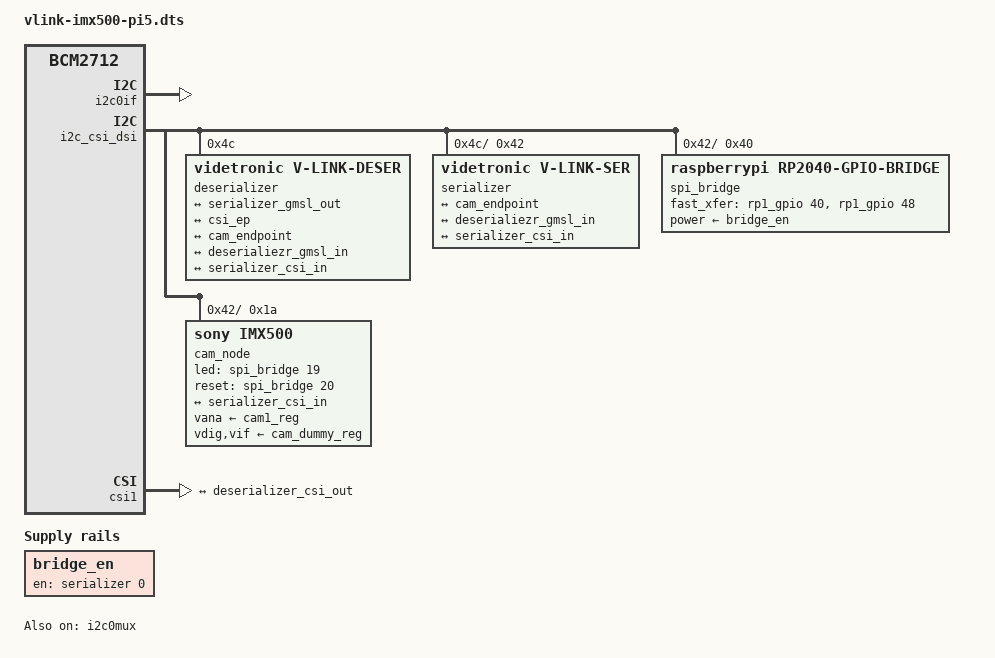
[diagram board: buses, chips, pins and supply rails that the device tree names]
// SPDX-License-Identifier: GPL-2.0-only
// Definitions for IMX500 camera module over v-link
/dts-v1/;
/plugin/;

/{
	compatible = "brcm,bcm2712";
	
	fragment@0 {
		target = <&i2c0if>;
		__overlay__ {
			status = "okay";
		};
	};
	
	fragment@1 {
		target = <&i2c0mux>;
		__overlay__ {
			status = "okay";
		};
	};
	
	reg_frag: fragment@2 {
		target = <&cam1_reg>;
		cam_reg: __overlay__ {
			startup-delay-us = <300000>;
		};
	};
	
	i2c_frag: fragment@100 {
		target = <&i2c_csi_dsi>;
		__overlay__ {
			#address-cells = <1>;
			#size-cells = <0>;
			status = "okay";
			
			deserializer: deserializer@4C {
				status = "okay";
				compatible = "videtronic,v-link-deser";
				reg = <0x4C>;
				ports {
					#address-cells = <1>;
					#size-cells = <0>;
					
					port@0 {
						reg = <0>;
						deserialiezr_gmsl_in: endpoint {
							remote-endpoint = <&serializer_gmsl_out>;
						};
					};
					
					port@1 {
						reg = <1>;
						deserializer_csi_out: endpoint {
							data-lanes = <1 2>;
							link-frequencies = /bits/ 64 <500000000>;
							remote-endpoint = <&csi_ep>;
						};
					};
				};
				
				i2c-gate {
					#address-cells = <1>;
					#size-cells = <0>;
					status = "okay";
					serializer: serializer@42 {
						status = "okay";
						compatible = "videtronic,v-link-ser";
						reg = <0x42>;
						gpio-controller;
						#gpio-cells = <2>;
						#clock-cells = <0>;
						
						ports {
							#address-cells = <1>;
							#size-cells = <0>;
							
							port@0 {
								reg = <0>;
								serializer_csi_in: endpoint {
									data-lanes = <1 2>;
									remote-endpoint = <&cam_endpoint>;
								};
							};
							
							port@1 {
								reg = <1>;
								serializer_gmsl_out: endpoint {
									remote-endpoint = <&deserialiezr_gmsl_in>;
								};
							};
						};
						
						i2c-gate {
							#address-cells = <1>;
							#size-cells = <0>;
							status = "okay";
							
							spi_bridge: spi@40 {
								reg = <0x40>;
								compatible = "raspberrypi,rp2040-gpio-bridge";
								status = "okay";
								#address-cells = <1>;
								#size-cells = <0>;
								
								power-supply = <&bridge_en>;
								
								#gpio-cells = <2>;
								gpio-controller;
								
								spi_bridgedev0: spidev@0{
									compatible = "spidev";
									reg = <0>;	/* CE0 */
									#address-cells = <1>;
									#size-cells = <0>;
									spi-max-frequency = <35000000>;
								};
							};
							
							cam_node: imx500@1a {
								reg = <0x1a>;
								compatible = "sony,imx500";
								status = "okay";
								
								clocks = <&clk_aicam_gated>;
								clock-names = "inck";
								
								vana-supply = <&cam1_reg>;	/* 2.7v */
								vdig-supply = <&cam_dummy_reg>;	/* 0.84v */
								vif-supply = <&cam_dummy_reg>;	/* 1.8v */
								
								rotation = <0>;
								orientation = <2>;
								
								led-gpios = <&spi_bridge 19 0>;
								reset-gpios = <&spi_bridge 20 0>;
								spi = <&spi_bridgedev0>;
								
								port {
									cam_endpoint: endpoint {
										clock-lanes = <0>;
										data-lanes = <1 2>;
										clock-noncontinuous;
										link-frequencies =
										/bits/ 64 <444000000>;
									};
								};
							};
						};
					};
				};
			};
		};
	};
	
	csi_frag: fragment@101 {
		target = <&csi1>;
		csi: __overlay__ {
			status = "okay";
			brcm,media-controller;
			
			port {
				csi_ep: endpoint {
					remote-endpoint = <&deserializer_csi_out>;
					clock-lanes = <0>;
					data-lanes = <1 2>;
					clock-noncontinuous;
				};
			};
		};
	};
	
	spi_frag: fragment@102 {
		target = <&spi_bridge>;
		spi_frag_overlay: __overlay__ {
			fast_xfer_requires_i2c_lock = <1>;
			fast_xfer_recv_gpio_base = <11>;
			fast_xfer-gpios = <&rp1_gpio 40 0>,// CD1_SDA (used as data)
			<&rp1_gpio 48 0>;// CD1_IO1_MICDAT1 (clock)
		};
	};
	
	spi_bridge_frag: fragment@103 {
		target = <&spi_bridgedev0>;
		__overlay__ {
			compatible = "sony,imx500";
		};
	};
	
	fragment@104 {
		target-path = "/clocks";
		__overlay__ {
			clk_aicam: clk-aicam1 {
				compatible = "fixed-clock";
				#clock-cells = <0>;
				clock-frequency = <24000000>;
			};
			
			clk_aicam_gated: clk-aicam-gated1 {
				compatible = "gpio-gate-clock";
				clocks = <&clk_aicam>;
				#clock-cells = <0>;
				enable-gpios = <&spi_bridge 21 0>;
			};
		};
	};
	
	fragment@105 {
		target-path = "/";
		__overlay__ {
			bridge_en: bridge_en {
				compatible = "regulator-fixed";
				regulator-name = "bridge_en";
				gpio = <&serializer 0 1>;
				enable-active-high;
				startup-delay-us = <500000>;
			};
		};
	};
	
	__overrides__ {
		rotation = <&cam_node>,"rotation:0";
		orientation = <&cam_node>,"orientation:0";
		media-controller = <&csi>,"brcm,media-controller?";
		cam0 = <&i2c_frag>, "target:0=",<&i2c_csi_dsi0>,
		<&csi_frag>, "target:0=",<&csi0>,
		<&spi_frag_overlay>, "fast_xfer-gpios:4=38",// CD0_SDA (data)
		<&spi_frag_overlay>, "fast_xfer-gpios:16=35",// CD0_IO1_MICDAT0 (clock)
		<&spi_bridge>, "power-supply:0=",<&bridge_en>,//cam0_reg
		<&reg_frag>, "target:0=",<&cam0_reg>,
		<&cam_node>, "VANA-supply:0=",<&cam0_reg>,
		<&clk_aicam>,"name=clk-aicam0",
		<&clk_aicam_gated>,"name=clk-aicam-gated0";
		bypass-cache = <&spi_bridge>,"bypass-cache?";
	};
};

&cam_node {
	status = "okay";
};

&spi_bridge {
	status = "okay";
};

&cam_endpoint {
	remote-endpoint = <&serializer_csi_in>;
};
